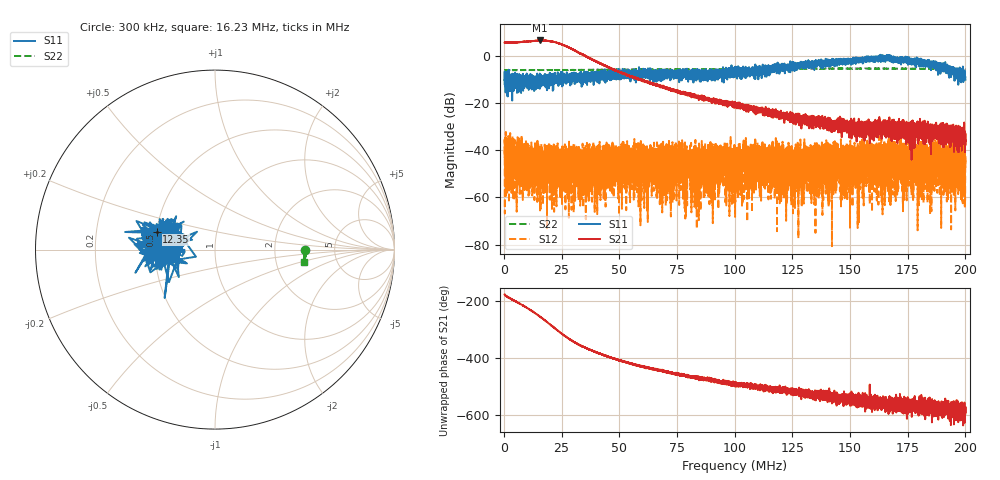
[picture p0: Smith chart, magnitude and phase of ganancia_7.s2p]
# Hz S DB R 50
! CMT, M5065, 19127446, 24.2.4/2
! Date: 10/29/2024 1:05:33 PM
! Data: Format (Calibration Info)
! Freq	S11:dB/Ang(F2)	S21:dB/Ang(F2)	S12:dB/Ang(F2)	S22:dB/Ang(F2)
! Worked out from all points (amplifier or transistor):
!   9000 points, 300 kHz to 200 MHz, reference 50 ohm
!   highest |S21| = 6.6 dB at 15.66 MHz (marker M1)
!   |S21| within 3 dB of that: start of sweep to 28.04 MHz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
!   unconditionally stable (mu >= 1): start of sweep to 162.7 MHz; 164.5 MHz to 165.9 MHz; 167.8 MHz to end of sweep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
!   at 33.59 MHz: K = 53.98, MAG = 2.7 dB, |S12| = -45.4 dB
!   at 100.2 MHz: K = 1444.48, MAG = -18.1 dB, |S12| = -53.3 dB
!   at 200 MHz: K = 2891.32, MAG = -34.1 dB, |S12| = -43.0 dB
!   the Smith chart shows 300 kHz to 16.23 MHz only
!   S11 on the Smith chart (normalised r, x): 300 kHz: 0.53, -0.08; 12.35 MHz: 0.50, +0.11; 16.23 MHz: 0.56, -0.02
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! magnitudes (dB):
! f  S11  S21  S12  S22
! 300 kHz  -10.2  5.7  -36.8  -6.0
! 1.41 MHz  -9.7  5.7  -58.0  -6.0
! 12.35 MHz  -9.4  6.3  -42.2  -6.0
! 15.66 MHz  -10.4  6.6  -65.8  -6.0
! 16.23 MHz  -11.0  6.4  -45.4  -6.0
! 26.37 MHz  -9.9  4.4  -56.6  -6.0
! 28.39 MHz  -10.0  3.4  -43.2  -5.9
! 33.59 MHz  -8.3  0.7  -45.4  -5.9
! 51.21 MHz  -7.7  -7.1  -38.0  -5.9
! 53.67 MHz  -7.3  -8.3  -53.7  -5.8
! 66.87 MHz  -8.3  -12.2  -46.0  -5.8
! 100.2 MHz  -7.9  -20.2  -53.3  -5.7
! 117.1 MHz  -4.5  -24.3  -41.3  -5.6
! 122.2 MHz  -5.1  -26.5  -49.5  -5.5
! 124.1 MHz  -6.9  -26.0  -44.1  -5.6
! 126.7 MHz  -4.2  -26.1  -55.0  -5.5
! 128.6 MHz  -3.4  -26.4  -48.1  -5.5
! 133.4 MHz  -3.0  -27.8  -44.0  -5.4
! 166.7 MHz  -1.2  -33.1  -40.5  -5.4
! 184.5 MHz  -4.0  -33.8  -50.4  -5.5
! 188.3 MHz  -5.1  -31.6  -41.0  -5.5
! 200 MHz  -10.0  -35.9  -43.0  -5.6
